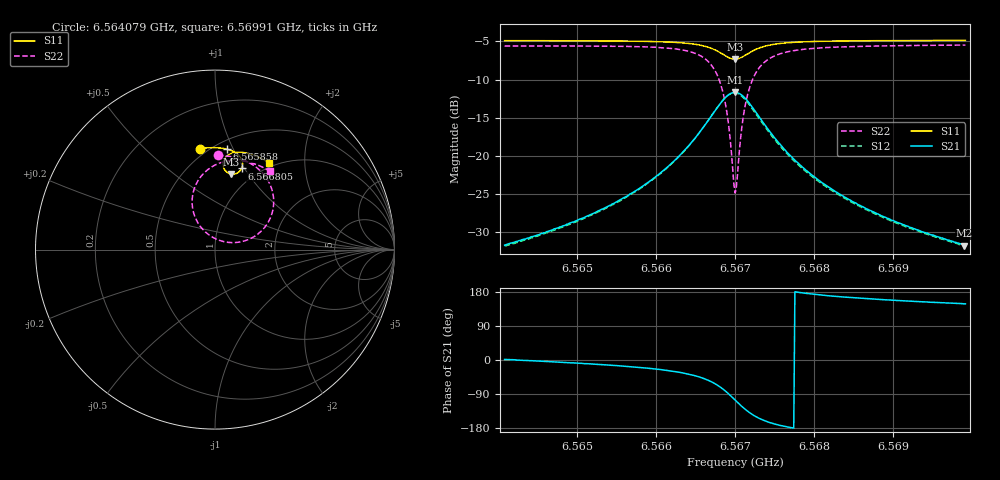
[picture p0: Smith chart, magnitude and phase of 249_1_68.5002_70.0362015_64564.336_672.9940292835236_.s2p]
#  HZ  S  RI  R  50.00
! Rohde & Schwarz Vector Network Analyzer
! Rohde-Schwarz,ZNB20-2Port,1311601062101988,3.16
! Created: UTC 3/20/2024, 4:59:46 PM
! freq[Hz]  re:S11  im:S11  re:S21  im:S21  re:S12  im:S12  re:S22  im:S22
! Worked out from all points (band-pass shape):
!   401 points, 6.564079 GHz to 6.56991 GHz, reference 50 ohm
!   highest |S21| = -11.67 dB at 6.566995 GHz (marker M1); lowest = -31.7 dB at 6.569895 GHz (marker M2)
!   |S21| within 3 dB of the highest: 6.566702 GHz to 6.567286 GHz (583.6 kHz wide, 0.00889 % of centre)
!   lowest |S11| = -7.3 dB at 6.566995 GHz (marker M3), VSWR 2.51, Z = 40.3 + j41.7 ohm
!   |S11| at or under -10 dB: nowhere
!   |S22| runs from -24.8 to -5.5 dB; largest |S21 - S12| = 0.012
!   S11 on the Smith chart (normalised r, x): 6.564079 GHz: 0.45, +0.75; 6.565858 GHz: 0.58, +0.95; 6.566805 GHz: 0.83, +0.97; 6.56991 GHz: 0.94, +1.35
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6.5640791e9  -0.084 0.5628  0.026 0.000648  0.0257 0.00011  0.0147 0.5248
6.5650558e9  -0.00514 0.568  0.0386 -0.00596  0.0379 -0.00659  0.1039 0.5148
6.5658575e9  0.0669 0.5594  0.0608 -0.0232  0.0598 -0.024  0.1995 0.4786
6.5660324e9  0.0846 0.5541  0.069 -0.0319  0.0679 -0.0327  0.2264 0.461
6.5663386e9  0.1182 0.5374  0.088 -0.0602  0.0864 -0.0612  0.2819 0.4055
6.5665572e9  0.143 0.512  0.1013 -0.1041  0.0992 -0.106  0.321 0.3202
6.566703e9  0.1533 0.4814  0.0976 -0.1572  0.0936 -0.1601  0.3219 0.2186
6.566805e9  0.1483 0.4524  0.0714 -0.2073  0.0649 -0.21  0.2773 0.1246
6.5668925e9  0.128 0.4289  0.02 -0.2457  0.0104 -0.2462  0.1838 0.0551
6.5669216e9  0.1177 0.4236  -0.00372 -0.2535  -0.0141 -0.2526  0.1411 0.0427
6.5669654e9  0.0998 0.4204  -0.0426 -0.2562  -0.0534 -0.2528  0.0717 0.0404
6.5669945e9  0.0876 0.4214  -0.0692 -0.2517  -0.0795 -0.2462  0.0253 0.0513
6.5670237e9  0.0758 0.4254  -0.0944 -0.2419  -0.1038 -0.2349  -0.0172 0.0712
6.567082e9  0.0572 0.4403  -0.135 -0.2105  -0.1416 -0.2009  -0.0835 0.1316
6.5671257e9  0.0487 0.4549  -0.1546 -0.181  -0.1588 -0.1708  -0.1127 0.1853
6.567184e9  0.0451 0.4748  -0.1669 -0.1414  -0.1684 -0.1319  -0.1273 0.2555
6.5672569e9  0.0491 0.4963  -0.1669 -0.0992  -0.1657 -0.0911  -0.1188 0.3285
6.5675193e9  0.088 0.5347  -0.1252 -0.0217  -0.1225 -0.0181  -0.0238 0.4576
6.5679712e9  0.1465 0.5422  -0.0744 0.00803  -0.0727 0.00917  0.0961 0.4967
6.5689478e9  0.234 0.519  -0.0359 0.0142  -0.035 0.0146  0.2252 0.4763
6.5698954e9  0.3026 0.4842  -0.022 0.0137  -0.0219 0.0138  0.3041 0.4374
6.5699099e9  0.3035 0.4837  -0.0222 0.0137  -0.0217 0.0139  0.3053 0.4366
